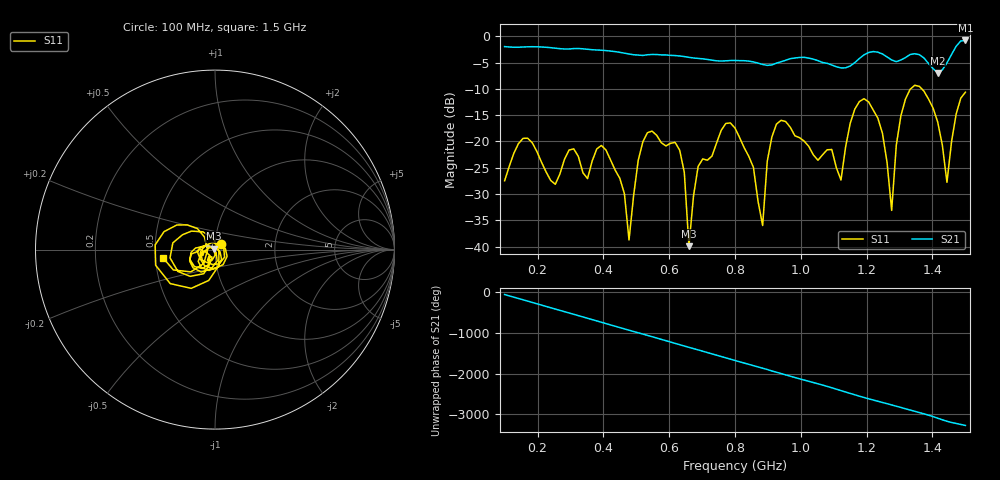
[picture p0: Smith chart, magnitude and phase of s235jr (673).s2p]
! NanoVNA-App
! Date: 2025-09-25 15:09:24
! Start: 100MHz Stop: 1,5GHz Points: 101
! S-Parameter data: F S11 S21 S12 S22
# Hz S RI R 50
!  Frequency  S11_Real  S11_Imag  S21_Real  S21_Imag  S12_Real  S12_Imag  S22_Real  S22_Imag
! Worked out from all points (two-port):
!   101 points, 100 MHz to 1.5 GHz, reference 50 ohm
!   highest |S21| = -0.79 dB at 1.5 GHz (marker M1); lowest = -7.0 dB at 1.416 GHz (marker M2)
!   |S21| within 3 dB of the highest: start of sweep to 638.3 MHz; 1.187 GHz to 1.259 GHz (72.08 MHz wide, 5.9 % of centre) (the widest 2 of 4)
!   lowest |S11| = -39.9 dB at 660 MHz (marker M3), VSWR 1.02, Z = 49.2 + j0.584 ohm
!   |S11| at or under -10 dB: start of sweep to 1.334 GHz; 1.367 GHz to end of sweep
!   S12 and S22 are empty: the file has one direction only
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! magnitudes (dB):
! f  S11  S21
! 100 MHz  -27.5  -2.0
! 156 MHz  -19.4  -2.0
! 338 MHz  -25.9  -2.4
! 408 MHz  -21.6  -2.7
! 478 MHz  -38.7  -3.4
! 520 MHz  -20.1  -3.6
! 576 MHz  -20.2  -3.5
! 632 MHz  -21.7  -3.7
! 660 MHz  -39.9  -4.0
! 688 MHz  -24.7  -4.2
! 800 MHz  -17.5  -4.6
! 884 MHz  -36.0  -5.4
! 926 MHz  -16.7  -5.1
! 1.038 GHz  -22.5  -4.4
! 1.122 GHz  -27.3  -6.0
! 1.206 GHz  -12.5  -3.1
! 1.276 GHz  -33.1  -4.5
! 1.29 GHz  -20.7  -4.8
! 1.332 GHz  -10.1  -3.5
! 1.416 GHz  -16.3  -7.0
! 1.444 GHz  -27.8  -5.1
! 1.5 GHz  -10.6  -0.8
